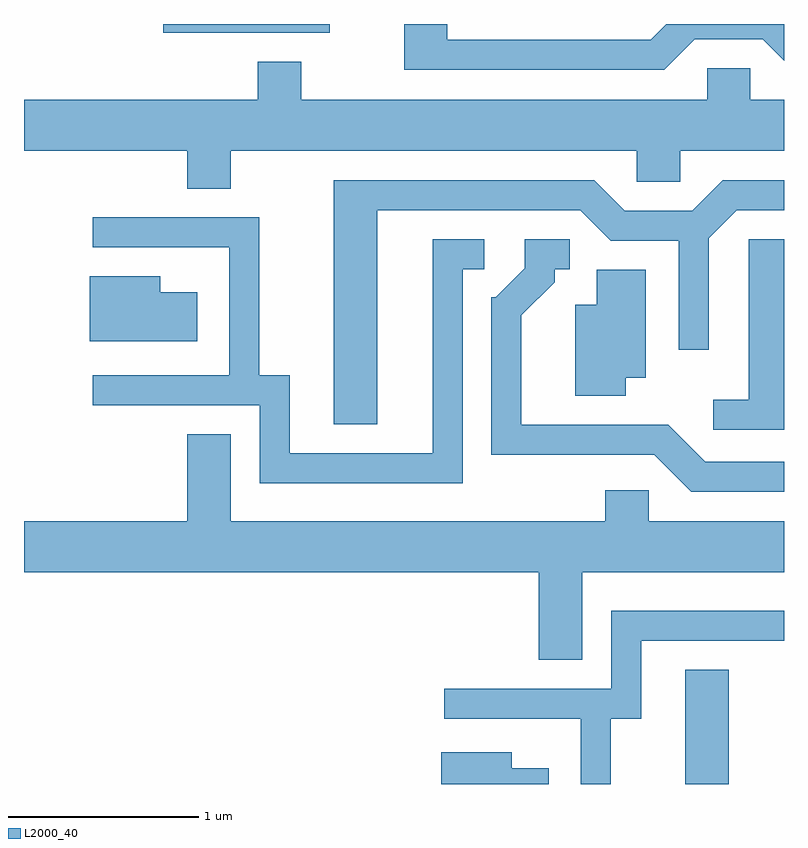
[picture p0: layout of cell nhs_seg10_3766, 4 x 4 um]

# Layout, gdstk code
import gdstk
lib = gdstk.Library(unit=1e-6, precision=1e-09)
def R(c, l, rs):  # rectangles x0, y0, x1, y1
    for r in rs: c.add(gdstk.rectangle(r[:2], r[2:], *l))
def P(c, l, *ps):  # polygons
    for p in ps: c.add(gdstk.Polygon(p, *l))
L2000_40 = (2000, 40)

nhs_seg10_3766 = lib.new_cell('nhs_seg10_3766')
R(nhs_seg10_3766, L2000_40, [(299.091,2170.522,299.319,2171.124), (296.343,2174.476,297.219,2174.522)])
P(nhs_seg10_3766, L2000_40, [(299.142,2174.441),(299.499,2174.441),(299.611,2174.329),(299.611,2174.522),(298.992,2174.522),(298.909,2174.439),(297.839,2174.439),(297.839,2174.522),(297.611,2174.522),(297.611,2174.281),(298.982,2174.281)],
  [(296.699,2173.856),(298.836,2173.856),(298.836,2173.691),(299.064,2173.691),(299.064,2173.856),(299.611,2173.856),(299.611,2174.124),(299.434,2174.124),(299.434,2174.289),(299.206,2174.289),(299.206,2174.124),(297.069,2174.124),(297.069,2174.324),(296.841,2174.324),(296.841,2174.124),(295.611,2174.124),(295.611,2173.856),(296.471,2173.856),(296.471,2173.656),(296.699,2173.656)],
  [(297.469,2173.541),(298.539,2173.541),(298.699,2173.381),(299.056,2173.381),(299.056,2172.808),(299.214,2172.808),(299.214,2173.394),(299.362,2173.541),(299.611,2173.541),(299.611,2173.699),(299.289,2173.699),(299.129,2173.539),(298.772,2173.539),(298.612,2173.699),(297.241,2173.699),(297.241,2172.416),(297.469,2172.416)],
  [(297.919,2173.231),(298.033,2173.231),(298.033,2173.389),(297.761,2173.389),(297.761,2172.264),(297.009,2172.264),(297.009,2172.674),(296.849,2172.674),(296.849,2173.504),(295.973,2173.504),(295.973,2173.346),(296.691,2173.346),(296.691,2172.674),(295.973,2172.674),(295.973,2172.516),(296.851,2172.516),(296.851,2172.106),(297.919,2172.106)],
  [(299.611,2172.219),(299.197,2172.219),(299.002,2172.414),(298.229,2172.414),(298.229,2172.989),(298.404,2173.164),(298.404,2173.231),(298.483,2173.231),(298.483,2173.389),(298.246,2173.389),(298.246,2173.237),(298.094,2173.084),(298.071,2173.084),(298.071,2172.256),(298.929,2172.256),(299.124,2172.061),(299.611,2172.061)],
  [(299.611,2173.389),(299.426,2173.389),(299.426,2172.544),(299.238,2172.544),(299.238,2172.386),(299.611,2172.386)],
  [(298.779,2172.661),(298.884,2172.661),(298.884,2173.229),(298.626,2173.229),(298.626,2173.044),(298.511,2173.044),(298.511,2172.566),(298.779,2172.566)],
  [(296.524,2173.109),(296.329,2173.109),(296.329,2173.194),(295.956,2173.194),(295.956,2172.851),(296.524,2172.851)],
  [(298.549,2171.636),(299.611,2171.636),(299.611,2171.904),(298.899,2171.904),(298.899,2172.069),(298.671,2172.069),(298.671,2171.904),(296.699,2171.904),(296.699,2172.364),(296.471,2172.364),(296.471,2171.904),(295.611,2171.904),(295.611,2171.636),(298.321,2171.636),(298.321,2171.176),(298.549,2171.176)],
  [(298.699,2170.866),(298.859,2170.866),(298.859,2171.276),(299.611,2171.276),(299.611,2171.434),(298.701,2171.434),(298.701,2171.024),(297.823,2171.024),(297.823,2170.866),(298.541,2170.866),(298.541,2170.522),(298.699,2170.522)],
  [(298.374,2170.604),(298.179,2170.604),(298.179,2170.689),(297.806,2170.689),(297.806,2170.522),(298.374,2170.522)])

lib.write_gds('nhs_seg10_3766.gds')
